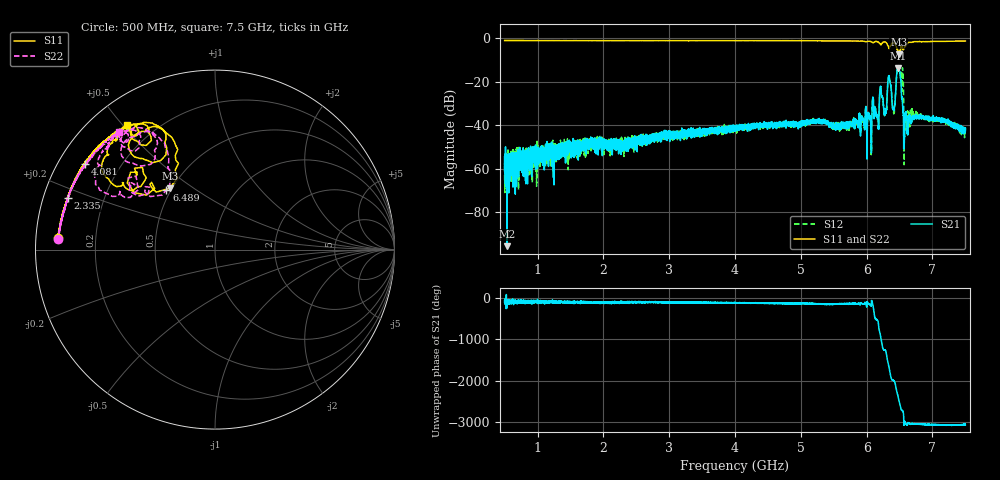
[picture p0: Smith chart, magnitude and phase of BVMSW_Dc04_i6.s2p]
!Keysight Technologies,M9374A,MY55442783,A.12.55.05
!Date: Thursday, May 20, 2021 18:27:03
!Correction: S11(Full 2 Port(1,2))
!S21(Full 2 Port(1,2))
!S12(Full 2 Port(1,2))
!S22(Full 2 Port(1,2))
!S2P File: Measurements: S11, S21, S12, S22:
# Hz S  RI  R 50
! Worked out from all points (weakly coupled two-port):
!   7001 points, 500 MHz to 7.5 GHz, reference 50 ohm
!   highest |S21| = -13.85 dB at 6.476 GHz (marker M1); lowest = -95.5 dB at 534 MHz (marker M2)
!   lowest |S11| = -7.4 dB at 6.488 GHz (marker M3), VSWR 2.48, Z = 24.3 + j20.3 ohm
!   |S11| at or under -10 dB: nowhere
!   |S22| runs from -7.8 to -1.1 dB; largest |S21 - S12| = 0.23
!   S11 on the Smith chart (normalised r, x): 500 MHz: 0.07, +0.04; 2.335 GHz: 0.07, +0.17; 4.081 GHz: 0.08, +0.30; 6.489 GHz: 0.47, +0.38; 7.5 GHz: 0.10, +0.51
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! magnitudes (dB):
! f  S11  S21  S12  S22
! 500 MHz  -1.1  -60.8  -65.3  -1.2
! 534 MHz  -1.1  -95.5  -57.0  -1.2
! 1.667 GHz  -1.2  -50.0  -50.9  -1.2
! 2.335 GHz  -1.2  -48.4  -50.6  -1.2
! 2.834 GHz  -1.2  -45.6  -44.9  -1.2
! 4 GHz  -1.2  -41.5  -40.8  -1.3
! 4.081 GHz  -1.2  -40.7  -41.7  -1.2
! 5.167 GHz  -1.3  -38.2  -38.7  -1.3
! 6.038 GHz  -1.5  -35.9  -35.8  -1.5
! 6.114 GHz  -1.9  -36.1  -36.4  -1.8
! 6.16 GHz  -1.7  -36.2  -35.1  -1.6
! 6.223 GHz  -2.7  -26.0  -25.7  -2.6
! 6.279 GHz  -1.8  -35.2  -35.1  -1.7
! 6.334 GHz  -4.4  -17.4  -17.4  -4.2
! 6.412 GHz  -2.3  -33.1  -34.6  -2.3
! 6.476 GHz  -6.1  -13.8  -12.7  -5.9
! 6.488 GHz  -7.4  -14.8  -12.9  -7.5
! 6.489 GHz  -7.4  -15.1  -12.9  -7.3
! 6.527 GHz  -4.2  -24.9  -15.4  -4.7
! 6.596 GHz  -3.5  -34.1  -34.3  -3.4
! 6.833 GHz  -1.7  -36.2  -35.8  -1.7
! 7.5 GHz  -1.4  -42.2  -41.2  -1.4
